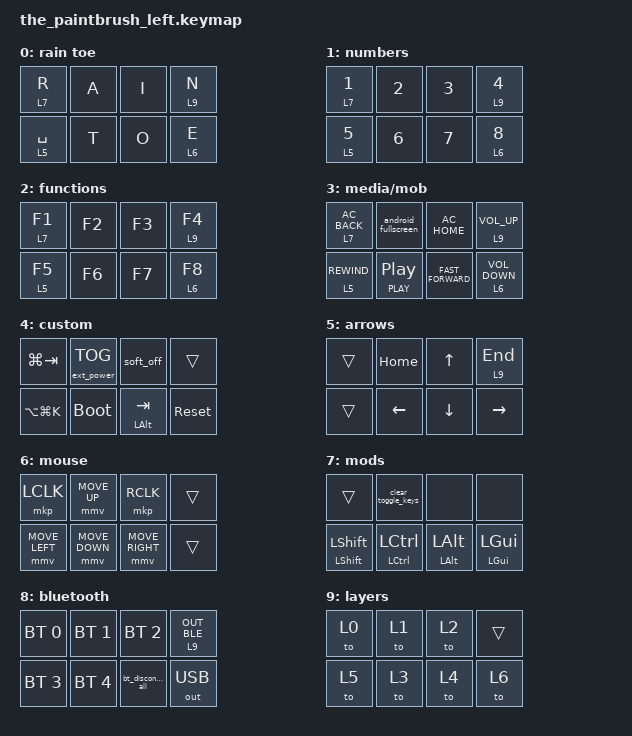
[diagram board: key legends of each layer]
#include <dt-bindings/zmk/hid_usage_pages.h>
#include <behaviors.dtsi>
#include <dt-bindings/zmk/bt.h>
#include <dt-bindings/zmk/ext_power.h>
#include <dt-bindings/zmk/keys.h>
#include <dt-bindings/zmk/outputs.h>
#include <dt-bindings/zmk/pointing.h>

#define NATIVE_FULLSCREEN (ZMK_HID_USAGE(HID_USAGE_CONSUMER, 0x0232))

/ {
    combos {
        compatible = "zmk,combos";

        d {
            bindings = <&kp D>;
            key-positions = <3 1>;
            layers = <0>;
        };

        b {
            bindings = <&kp B>;
            key-positions = <4 7>;
            layers = <0>;
        };

        c {
            bindings = <&kp C>;
            key-positions = <7 6>;
            layers = <0>;
        };

        f {
            bindings = <&kp F>;
            key-positions = <3 2>;
            layers = <0>;
        };

        g {
            bindings = <&kp G>;
            key-positions = <2 1>;
            layers = <0>;
        };

        h {
            bindings = <&kp H>;
            key-positions = <5 7>;
            layers = <0>;
        };

        j {
            bindings = <&kp J>;
            key-positions = <1 0>;
            layers = <0>;
        };

        k {
            bindings = <&kp K>;
            key-positions = <4 6>;
            layers = <0>;
        };

        l {
            bindings = <&kp L>;
            key-positions = <4 0>;
            layers = <0>;
        };

        m {
            bindings = <&kp M>;
            key-positions = <4 5>;
            layers = <0>;
        };

        n {
            bindings = <&kp P>;
            key-positions = <0 6>;
            layers = <0>;
        };

        q_old {
            bindings = <&kp Q>;
            key-positions = <0 1 3>;
            layers = <0>;
        };

        qu {
            bindings = <&qu>;
            key-positions = <1 7>;
            layers = <0>;
        };

        s {
            bindings = <&kp S>;
            key-positions = <1 4>;
            layers = <0>;
        };

        u {
            bindings = <&kp U>;
            key-positions = <5 6>;
            layers = <0>;
        };

        v {
            bindings = <&kp V>;
            key-positions = <2 0>;
            layers = <0>;
        };

        w {
            bindings = <&kp W>;
            key-positions = <0 3>;
            layers = <0>;
        };

        x {
            bindings = <&kp X>;
            key-positions = <1 6>;
            layers = <0>;
        };

        y {
            bindings = <&kp Y>;
            key-positions = <6 2>;
            layers = <0>;
        };

        z {
            bindings = <&kp Z>;
            key-positions = <2 4>;
            layers = <0>;
        };

        caps_lock {
            bindings = <&kp CLCK>;
            key-positions = <4 5 6 3>;
        };

        single_quote {
            bindings = <&kp SINGLE_QUOTE>;
            key-positions = <5 6 3>;
            layers = <0 1>;
        };

        comma {
            bindings = <&kp COMMA>;
            key-positions = <5 3>;
            layers = <0 1>;
        };

        exclamation {
            bindings = <&kp EXCLAMATION>;
            key-positions = <5 1>;
            layers = <0>;
        };

        full_stop {
            bindings = <&kp PERIOD>;
            key-positions = <6 3>;
            layers = <0 1>;
        };

        slash {
            bindings = <&kp SLASH>;
            key-positions = <3 4>;
            layers = <0 1>;
        };

        backspace {
            bindings = <&kp BACKSPACE>;
            key-positions = <2 7>;
        };

        delete {
            bindings = <&kp DELETE>;
            key-positions = <2 5>;
        };

        enter {
            bindings = <&kp ENTER>;
            key-positions = <3 7>;
        };

        bluetooth {
            bindings = <&tog 8>;
            key-positions = <4 0 3 7>;
        };

        clear_bt_profile {
            bindings = <&bt BT_CLR>;
            key-positions = <5 6 2 1>;
            layers = <8>;
        };

        hyphen {
            bindings = <&kp MINUS>;
            key-positions = <0 5>;
            layers = <0>;
            layers = <0 1>;
        };

        semi_colon {
            bindings = <&kp SEMICOLON>;
            key-positions = <6 5 4>;
            layers = <0 1>;
        };

        colon {
            bindings = <&kp COLON>;
            key-positions = <6 5 7>;
            layers = <0 1>;
        };

        question_mark {
            bindings = <&kp QUESTION>;
            key-positions = <1 2 7>;
        };

        double_quote {
            bindings = <&kp LS(NUMBER_2)>;
            key-positions = <4 5 2>;
            layers = <0 1>;
        };

        smart_normal_brackets {
            bindings = <&normal_brackets>;
            key-positions = <4 2 3>;
            layers = <0 1>;
        };

        right_bracket {
            bindings = <&kp RIGHT_PARENTHESIS>;
            key-positions = <4 7 6>;
            layers = <0 1>;
        };

        at_symbol {
            bindings = <&kp LS(SQT)>;
            key-positions = <5 2 7>;
        };

        back_slash {
            bindings = <&kp NON_US_BSLH>;
            key-positions = <0 7>;
            layers = <0 1>;
        };

        ampersand {
            bindings = <&kp AMPERSAND>;
            key-positions = <6 1 3>;
            layers = <0 1>;
        };

        hash {
            bindings = <&kp NON_US_HASH>;
            key-positions = <6 3 2 7>;
        };

        asterisk {
            bindings = <&kp ASTERISK>;
            key-positions = <0 4 5 1>;
        };

        tab {
            bindings = <&kp TAB>;
            key-positions = <1 2 3>;
        };

        n9 {
            bindings = <&kp N9>;
            key-positions = <1 0>;
            layers = <1>;
        };

        n0 {
            bindings = <&kp N0>;
            key-positions = <0 2>;
            layers = <1>;
        };

        bluetooth_off {
            bindings = <&to 0>;
            key-positions = <4 0 3 7>;
            layers = <8>;
        };

        ctrl_c {
            bindings = <&kp LC(C)>;
            key-positions = <2 0 4>;
        };

        ctrl_v {
            bindings = <&kp LC(V)>;
            key-positions = <0 4 3>;
        };

        ctrl_x {
            bindings = <&kp LC(X)>;
            key-positions = <0 4 1>;
        };

        ctrl_y {
            bindings = <&kp LC(Y)>;
            key-positions = <0 4 6>;
        };

        ctrl_z {
            bindings = <&kp LC(Z)>;
            key-positions = <0 4 5>;
        };

        ctrl_w {
            bindings = <&kp LC(W)>;
            key-positions = <0 4 7>;
        };

        escape {
            bindings = <&kp ESCAPE>;
            key-positions = <0 1 2>;
        };

        print_screen {
            bindings = <&kp PRINTSCREEN>;
            key-positions = <1 4 7>;
        };

        f9 {
            bindings = <&kp F9>;
            key-positions = <1 0>;
            layers = <2>;
        };

        f10 {
            bindings = <&kp F10>;
            key-positions = <0 2>;
            layers = <2>;
        };

        f11 {
            bindings = <&kp F11>;
            key-positions = <0 3>;
            layers = <2>;
        };

        f12 {
            bindings = <&kp F12>;
            key-positions = <5 4>;
            layers = <2>;
        };

        smart_square_brackets {
            bindings = <&square_brackets>;
            key-positions = <0 2 3>;
            layers = <0 1>;
        };

        right_square_bracket {
            bindings = <&kp RIGHT_BRACKET>;
            key-positions = <0 6 7>;
            layers = <0 1>;
        };

        smart_curly_brackets {
            bindings = <&curly_brackets>;
            key-positions = <0 7 1>;
            layers = <0 1>;
        };

        right_curly_breacket {
            bindings = <&kp RIGHT_BRACE>;
            key-positions = <7 4 5>;
            layers = <0 1>;
        };

        pound {
            bindings = <&kp HASH>;
            key-positions = <5 2 3>;
            layers = <0 1>;
        };

        dollar {
            bindings = <&kp DOLLAR>;
            key-positions = <1 6 7>;
            layers = <0 1>;
        };

        underscore {
            bindings = <&kp UNDERSCORE>;
            key-positions = <6 4 3>;
            layers = <0 1>;
        };

        plus {
            bindings = <&kp PLUS>;
            key-positions = <4 3 1>;
            layers = <0 1>;
        };

        percent {
            bindings = <&kp PERCENT>;
            key-positions = <0 5 6>;
            layers = <0 1>;
        };

        equals {
            bindings = <&kp EQUAL>;
            key-positions = <4 1 2>;
            layers = <0 1>;
        };

        negation {
            bindings = <&kp LS(GRAVE)>;
            key-positions = <1 0 6>;
            layers = <0 1>;
        };

        double_pipe {
            bindings = <&kp RA(GRAVE)>;
            key-positions = <1 4 5>;
            layers = <0 1>;
        };

        back_tick {
            bindings = <&kp GRAVE>;
            key-positions = <4 5 3>;
            layers = <0 1>;
        };

        page_up {
            bindings = <&kp PAGE_UP>;
            key-positions = <4 2 7>;
        };

        page_down {
            bindings = <&kp PAGE_DOWN>;
            key-positions = <6 3 0>;
        };

        pipe {
            bindings = <&kp PIPE2>;
            key-positions = <0 7 2>;
            layers = <0 1>;
        };

        less_than {
            bindings = <&kp LESS_THAN>;
            key-positions = <0 2 5>;
            layers = <0 1>;
        };

        greater_than {
            bindings = <&kp GREATER_THAN>;
            key-positions = <4 1 6>;
            layers = <0 1>;
        };

        tilde {
            bindings = <&kp TILDE2>;
            key-positions = <0 5 3>;
            layers = <0 1>;
        };

        media_mouse_scroll_up {
            bindings = <&msc SCRL_UP>;
            key-positions = <0 2>;
            layers = <3>;
        };

        media_mouse_scroll_down {
            bindings = <&msc SCRL_DOWN>;
            key-positions = <0 6>;
            layers = <3>;
        };

        media_forwards {
            bindings = <&kp LA(RIGHT)>;
            key-positions = <0 3>;
            layers = <3>;
        };

        arrows_page_up {
            bindings = <&kp PAGE_UP>;
            key-positions = <2 6>;
            layers = <5>;
        };

        arrows_page_down {
            bindings = <&kp PAGE_DOWN>;
            key-positions = <5 7>;
            layers = <5>;
        };

        mouse_layer_scroll_up {
            bindings = <&msc SCRL_UP>;
            key-positions = <1 4 6>;
            layers = <6>;
        };

        mouse_layer_scroll_down {
            bindings = <&msc SCRL_DOWN>;
            key-positions = <5 6 4>;
            layers = <6>;
        };

        mouse_layer_scroll_left {
            bindings = <&msc SCRL_LEFT>;
            key-positions = <5 4 1>;
            layers = <6>;
        };

        mouse_layer_scroll_right {
            bindings = <&msc SCRL_RIGHT>;
            key-positions = <6 1 5>;
            layers = <6>;
        };

        media_switch_display {
            bindings = <&kp LC(LG(D))>;
            key-positions = <5 6>;
            layers = <3>;
        };

        media_desktop_left {
            bindings = <&kp LC(LG(LEFT_BRACKET))>;
            key-positions = <5 2>;
            layers = <3>;
        };

        media_desktop_right {
            bindings = <&kp LC(LG(RIGHT_BRACKET))>;
            key-positions = <6 1>;
            layers = <3>;
        };

        bt_clear_all {
            bindings = <&bt BT_CLR_ALL>;
            key-positions = <5 6>;
            layers = <8>;
        };
    };

    macros {
        qu: qu {
            compatible = "zmk,behavior-macro";
            #binding-cells = <0>;
            bindings = <&kp Q &kp U>;
            label = "QU";
        };

        android_fullscreen: android_fullscreen {
            compatible = "zmk,behavior-macro";
            #binding-cells = <0>;
            bindings =
                <&macro_press>,
                <&kp ZMK_HID_USAGE(HID_USAGE_CONSUMER, 0x0232)>,
                <&macro_release>,
                <&kp ZMK_HID_USAGE(HID_USAGE_CONSUMER, 0x0232)>;
        };

        clear_toggle_keys: clear_toggle_keys {
            compatible = "zmk,behavior-macro";
            #binding-cells = <0>;
            bindings = <&tof LEFT_SHIFT &tof LCTRL &tof LEFT_ALT &tof LEFT_GUI>;
            label = "Clear Toggle Keys";
        };

        normal_brackets: normal_brackets {
            compatible = "zmk,behavior-macro";
            #binding-cells = <0>;
            bindings = <&kp LEFT_PARENTHESIS &kp RIGHT_PARENTHESIS &kp LEFT>;
            label = "Normal Brackets";
        };

        square_brackets: square_brackets {
            compatible = "zmk,behavior-macro";
            #binding-cells = <0>;
            bindings = <&kp LEFT_BRACKET &kp RIGHT_BRACKET &kp LEFT>;
            label = "SQUARE_BRACKETS";
        };

        curly_brackets: curly_brackets {
            compatible = "zmk,behavior-macro";
            #binding-cells = <0>;
            bindings = <&kp LEFT_BRACE &kp RIGHT_BRACE &kp LEFT>;
            label = "CURLY_BRACKETS";
        };

        bt_disconnect_all: bt_disconnect_all {
            compatible = "zmk,behavior-macro";
            #binding-cells = <0>;
            bindings = <&bt BT_DISC 0 &bt BT_DISC 1 &bt BT_DISC 2 &bt BT_DISC 3 &bt BT_DISC 4>;
            label = "Disconnect all BT";
        };
    };

    behaviors {
        ts: ts {
            compatible = "zmk,behavior-hold-tap";
            label = "Toggle/Stick";
            bindings = <&kt>, <&sk>;

            #binding-cells = <2>;
            tapping-term-ms = <230>;
        };

        ol: out_or_layer {
            compatible = "zmk,behavior-hold-tap";
            label = "Bluetooth output / Layer";
            bindings = <&mo>, <&out>;

            #binding-cells = <2>;
            tapping-term-ms = <230>;
        };

        ht: hold_tap {
            compatible = "zmk,behavior-hold-tap";
            label = "hold tap";
            bindings = <&kp>, <&kp>;

            #binding-cells = <2>;
            tapping-term-ms = <230>;
        };

        tof: key_toggle_off {
            compatible = "zmk,behavior-key-toggle";
            label = "Key Toggle Off";
            #binding-cells = <1>;
            toggle-mode = "off";
        };

        tt: toggle_tap {
            compatible = "zmk,behavior-hold-tap";
            label = "Toggle/Tap";
            bindings = <&kt>, <&kp>;

            #binding-cells = <2>;
            tapping-term-ms = <230>;
        };
    };

    keymap {
        compatible = "zmk,keymap";

        default_layer {
            bindings = <
&lt 7 R      &kp A  &kp I  &lt 9 N
&lt 5 SPACE  &kp T  &kp O  &lt 6 E
            >;

            label = "rain toe";
        };

        numbers {
            bindings = <
&lt 7 NUMBER_1  &kp NUMBER_2  &kp NUMBER_3  &lt 9 NUMBER_4
&lt 5 N5        &kp NUMBER_6  &kp N7        &lt 6 N8
            >;

            label = "numbers";
        };

        functions {
            bindings = <
&lt 7 F1  &kp F2  &kp F3  &lt 9 F4
&lt 5 F5  &kp F6  &kp F7  &lt 6 F8
            >;

            label = "functions";
        };

        media+mob {
            bindings = <
&lt 7 C_AC_BACK  &android_fullscreen      &kp C_AC_HOME       &lt 9 C_VOL_UP
&lt 5 C_REWIND   &ht C_PLAY C_PLAY_PAUSE  &kp C_FAST_FORWARD  &lt 6 C_VOLUME_DOWN
            >;

            label = "media/mob";
        };

        custom {
            bindings = <
&kp LG(TAB)    &ext_power EP_TOG  &soft_off         &trans
&kp LA(LG(K))  &bootloader        &tt LEFT_ALT TAB  &sys_reset
            >;

            label = "custom";
        };

        arrows {
            bindings = <
&trans  &kp HOME        &kp UP_ARROW    &lt 9 END
&trans  &kp LEFT_ARROW  &kp DOWN_ARROW  &kp RIGHT
            >;

            label = "arrows";
        };

        mouse {
            bindings = <
&mkp LCLK       &mmv MOVE_UP    &mkp RCLK        &trans
&mmv MOVE_LEFT  &mmv MOVE_DOWN  &mmv MOVE_RIGHT  &trans
            >;

            label = "mouse";
        };

        modifiers {
            bindings = <
&trans                     &clear_toggle_keys             &none                  &none
&ts LEFT_SHIFT LEFT_SHIFT  &ts LEFT_CONTROL LEFT_CONTROL  &ts LEFT_ALT LEFT_ALT  &ts LEFT_GUI LEFT_GUI
            >;

            label = "mods";
        };

        bluetooth {
            bindings = <
&bt BT_SEL 0  &bt BT_SEL 1  &bt BT_SEL 2        &ol 9 OUT_BLE
&bt BT_SEL 3  &bt BT_SEL 4  &bt_disconnect_all  &out OUT_USB
            >;

            label = "bluetooth";
        };

        layer_select {
            bindings = <
&to 0  &to 1  &to 2  &trans
&to 5  &to 3  &to 4  &to 6
            >;

            label = "layers";
        };
    };
};
